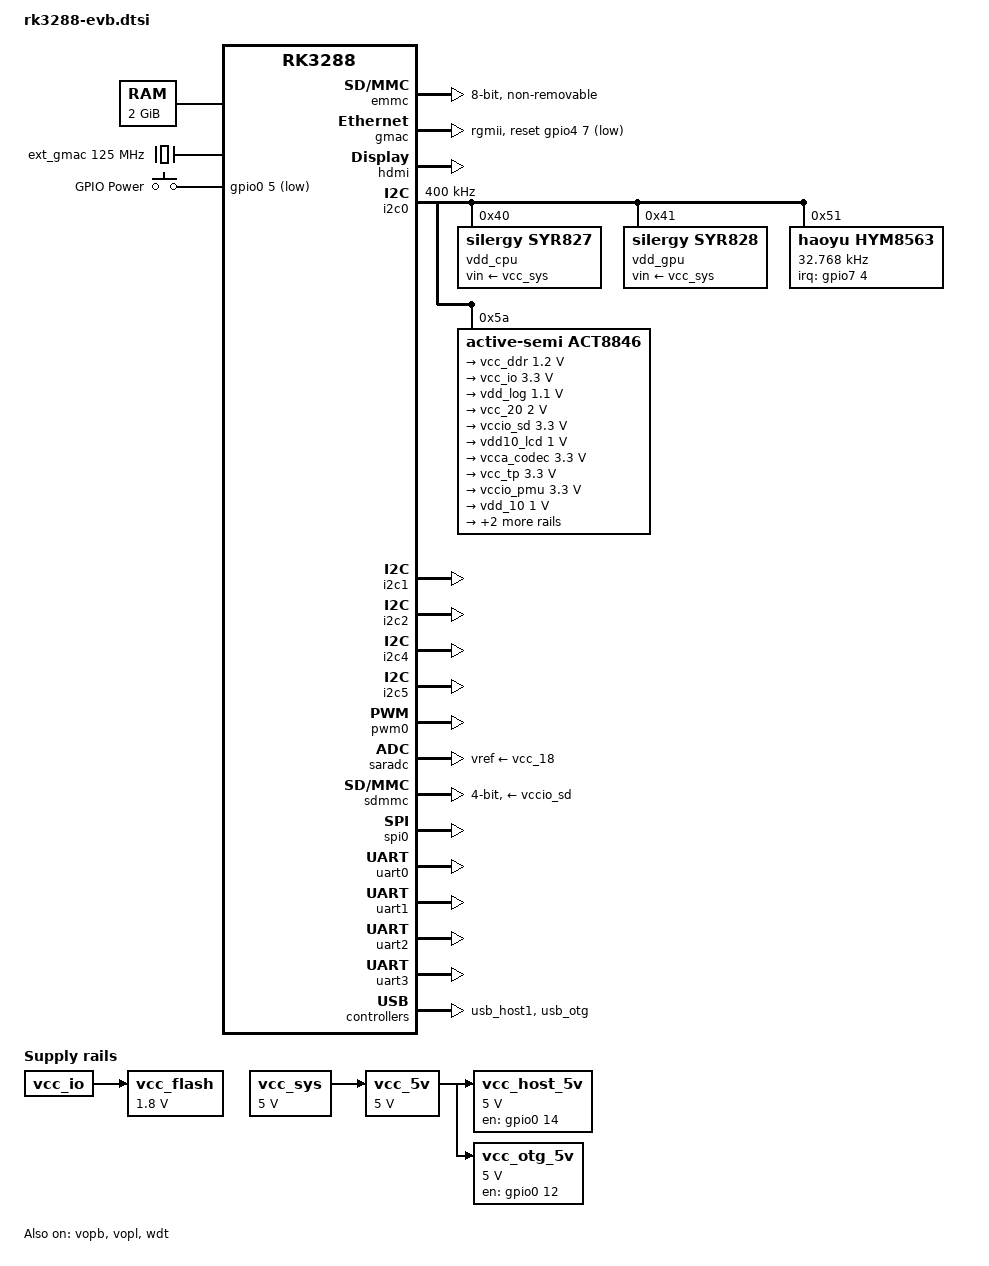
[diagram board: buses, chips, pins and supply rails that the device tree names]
// SPDX-License-Identifier: GPL-2.0+ OR X11
/*
 * (C) Copyright 2016 Rockchip Electronics Co., Ltd
 */

#include "rk3288.dtsi"

/ {
	memory {
		reg = <0 0x80000000>;
	};

	ext_gmac: external-gmac-clock {
		compatible = "fixed-clock";
		#clock-cells = <0>;
		clock-frequency = <125000000>;
		clock-output-names = "ext_gmac";
	};

	keys: gpio-keys {
		compatible = "gpio-keys";

		button@0 {
			gpio-key,wakeup = <1>;
			gpios = <&gpio0 5 GPIO_ACTIVE_LOW>;
			label = "GPIO Power";
			linux,code = <116>;
			pinctrl-names = "default";
			pinctrl-0 = <&pwr_key>;
		};
	};

	vcc_sys: vsys-regulator {
		compatible = "regulator-fixed";
		regulator-name = "vcc_sys";
		regulator-min-microvolt = <5000000>;
		regulator-max-microvolt = <5000000>;
		regulator-always-on;
		regulator-boot-on;
	};

	vcc_flash: flash-regulator {
		compatible = "regulator-fixed";
		regulator-name = "vcc_flash";
		regulator-min-microvolt = <1800000>;
		regulator-max-microvolt = <1800000>;
		vin-supply = <&vcc_io>;
	};

	vcc_5v: usb-regulator {
		compatible = "regulator-fixed";
		regulator-name = "vcc_5v";
		regulator-min-microvolt = <5000000>;
		regulator-max-microvolt = <5000000>;
		regulator-always-on;
		regulator-boot-on;
		vin-supply = <&vcc_sys>;
	};

	vcc_host_5v: usb-host-regulator {
		compatible = "regulator-fixed";
		enable-active-high;
		gpio = <&gpio0 14 GPIO_ACTIVE_HIGH>;
		pinctrl-names = "default";
		pinctrl-0 = <&host_vbus_drv>;
		regulator-name = "vcc_host_5v";
		regulator-min-microvolt = <5000000>;
		regulator-max-microvolt = <5000000>;
		regulator-always-on;
		vin-supply = <&vcc_5v>;
	};

	vcc_otg_5v: usb-otg-regulator {
		compatible = "regulator-fixed";
		enable-active-high;
		gpio = <&gpio0 12 GPIO_ACTIVE_HIGH>;
		pinctrl-names = "default";
		pinctrl-0 = <&otg_vbus_drv>;
		regulator-name = "vcc_otg_5v";
		regulator-min-microvolt = <5000000>;
		regulator-max-microvolt = <5000000>;
		regulator-always-on;
		vin-supply = <&vcc_5v>;
	};

	backlight: backlight {
		compatible = "pwm-backlight";
		power-supply = <&vcc_sys>;
		enable-gpios = <&gpio7 2 GPIO_ACTIVE_HIGH>;
		brightness-levels = <
			  0   1   2   3   4   5   6   7
			  8   9  10  11  12  13  14  15
			 16  17  18  19  20  21  22  23
			 24  25  26  27  28  29  30  31
			 32  33  34  35  36  37  38  39
			 40  41  42  43  44  45  46  47
			 48  49  50  51  52  53  54  55
			 56  57  58  59  60  61  62  63
			 64  65  66  67  68  69  70  71
			 72  73  74  75  76  77  78  79
			 80  81  82  83  84  85  86  87
			 88  89  90  91  92  93  94  95
			 96  97  98  99 100 101 102 103
			104 105 106 107 108 109 110 111
			112 113 114 115 116 117 118 119
			120 121 122 123 124 125 126 127
			128 129 130 131 132 133 134 135
			136 137 138 139 140 141 142 143
			144 145 146 147 148 149 150 151
			152 153 154 155 156 157 158 159
			160 161 162 163 164 165 166 167
			168 169 170 171 172 173 174 175
			176 177 178 179 180 181 182 183
			184 185 186 187 188 189 190 191
			192 193 194 195 196 197 198 199
			200 201 202 203 204 205 206 207
			208 209 210 211 212 213 214 215
			216 217 218 219 220 221 222 223
			224 225 226 227 228 229 230 231
			232 233 234 235 236 237 238 239
			240 241 242 243 244 245 246 247
			248 249 250 251 252 253 254 255>;
		default-brightness-level = <50>;
		pwms = <&pwm0 0 25000 0>;
		pinctrl-names = "default";
		pinctrl-0 = <&pwm0_pin>;
		pwm-delay-us = <10000>;
		status = "disabled";
	};

	panel: panel {
		compatible = "simple-panel";
		power-supply = <&vcc_io>;
		backlight = <&backlight>;
		enable-gpios = <&gpio7 3 GPIO_ACTIVE_HIGH>;
		status = "disabled";
	};
};

&cpu0 {
	cpu0-supply = <&vdd_cpu>;
};

&emmc {
	broken-cd;
	bus-width = <8>;
	cap-mmc-highspeed;
	disable-wp;
	non-removable;
	num-slots = <1>;
	pinctrl-names = "default";
	pinctrl-0 = <&emmc_clk>, <&emmc_cmd>, <&emmc_pwr>, <&emmc_bus8>;
	status = "okay";
};

&gmac {
	phy-mode = "rgmii";
	clock_in_out = "input";
	snps,reset-gpio = <&gpio4 7 0>;
	snps,reset-active-low;
	snps,reset-delays-us = <0 10000 1000000>;
	assigned-clocks = <&cru SCLK_MAC>;
	assigned-clock-parents = <&ext_gmac>;
	pinctrl-names = "default";
	pinctrl-0 = <&rgmii_pins>;
	tx_delay = <0x30>;
	rx_delay = <0x10>;
	status = "okay";
};

&hdmi {
	ddc-i2c-bus = <&i2c5>;
	status = "okay";
};

&i2c0 {
	clock-frequency = <400000>;
	status = "okay";

	vdd_cpu: syr827@40 {
		compatible = "silergy,syr827";
		fcs,suspend-voltage-selector = <1>;
		reg = <0x40>;
		regulator-name = "vdd_cpu";
		regulator-min-microvolt = <850000>;
		regulator-max-microvolt = <1350000>;
		regulator-always-on;
		regulator-boot-on;
		vin-supply = <&vcc_sys>;
	};

	vdd_gpu: syr828@41 {
		compatible = "silergy,syr828";
		fcs,suspend-voltage-selector = <1>;
		reg = <0x41>;
		regulator-name = "vdd_gpu";
		regulator-min-microvolt = <850000>;
		regulator-max-microvolt = <1350000>;
		regulator-always-on;
		vin-supply = <&vcc_sys>;
	};

	hym8563: hym8563@51 {
		compatible = "haoyu,hym8563";
		reg = <0x51>;
		#clock-cells = <0>;
		clock-frequency = <32768>;
		clock-output-names = "xin32k";
		interrupt-parent = <&gpio7>;
		interrupts = <4 IRQ_TYPE_EDGE_FALLING>;
		pinctrl-names = "default";
		pinctrl-0 = <&rtc_int>;
	};

	act8846: act8846@5a {
		compatible = "active-semi,act8846";
		reg = <0x5a>;
		pinctrl-names = "default";
		pinctrl-0 = <&pwr_hold>;
		system-power-controller;

		regulators {
			vcc_ddr: REG1 {
				regulator-name = "vcc_ddr";
				regulator-min-microvolt = <1200000>;
				regulator-max-microvolt = <1200000>;
				regulator-always-on;
			};

			vcc_io: REG2 {
				regulator-name = "vcc_io";
				regulator-min-microvolt = <3300000>;
				regulator-max-microvolt = <3300000>;
				regulator-always-on;
			};

			vdd_log: REG3 {
				regulator-name = "vdd_log";
				regulator-min-microvolt = <1100000>;
				regulator-max-microvolt = <1100000>;
				regulator-always-on;
			};

			vcc_20: REG4 {
				regulator-name = "vcc_20";
				regulator-min-microvolt = <2000000>;
				regulator-max-microvolt = <2000000>;
				regulator-always-on;
			};

			vccio_sd: REG5 {
				regulator-name = "vccio_sd";
				regulator-min-microvolt = <3300000>;
				regulator-max-microvolt = <3300000>;
				regulator-always-on;
			};

			vdd10_lcd: REG6 {
				regulator-name = "vdd10_lcd";
				regulator-min-microvolt = <1000000>;
				regulator-max-microvolt = <1000000>;
				regulator-always-on;
			};

			vcca_codec: REG7 {
				regulator-name = "vcca_codec";
				regulator-min-microvolt = <3300000>;
				regulator-max-microvolt = <3300000>;
			};

			vcc_tp: REG8 {
				regulator-name = "vcca_33";
				regulator-min-microvolt = <3300000>;
				regulator-max-microvolt = <3300000>;
			};

			vccio_pmu: REG9 {
				regulator-name = "vccio_pmu";
				regulator-min-microvolt = <3300000>;
				regulator-max-microvolt = <3300000>;
			};

			vdd_10: REG10 {
				regulator-name = "vdd_10";
				regulator-min-microvolt = <1000000>;
				regulator-max-microvolt = <1000000>;
				regulator-always-on;
			};

			vcc_18: REG11 {
				regulator-name = "vcc_18";
				regulator-min-microvolt = <1800000>;
				regulator-max-microvolt = <1800000>;
				regulator-always-on;
			};

			vcc18_lcd: REG12 {
				regulator-name = "vcc18_lcd";
				regulator-min-microvolt = <1800000>;
				regulator-max-microvolt = <1800000>;
				regulator-always-on;
			};
		};
	};
};

&i2c1 {
	status = "okay";
};

&i2c2 {
	status = "okay";
};

&i2c4 {
	status = "okay";
};

&i2c5 {
	status = "okay";
};

&pinctrl {
	pcfg_output_high: pcfg-output-high {
		output-high;
	};

	pcfg_output_low: pcfg-output-low {
		output-low;
	};

	act8846 {
		pwr_hold: pwr-hold {
			rockchip,pins = <0 9 RK_FUNC_GPIO &pcfg_output_high>;
		};
	};

	hym8563 {
		rtc_int: rtc-int {
			rockchip,pins = <0 4 RK_FUNC_GPIO &pcfg_pull_up>;
		};
	};

	keys {
		pwr_key: pwr-key {
			rockchip,pins = <0 5 RK_FUNC_GPIO &pcfg_pull_up>;
		};
	};

	sdmmc {
		sdmmc_pwr: sdmmc-pwr {
			rockchip,pins = <7 11 RK_FUNC_GPIO &pcfg_pull_none>;
		};
	};

	usb_host {
		host_vbus_drv: host-vbus-drv {
			rockchip,pins = <0 14 RK_FUNC_GPIO &pcfg_pull_none>;
		};
	};

	usb_otg {
		otg_vbus_drv: otg-vbus-drv {
			rockchip,pins = <0 12 RK_FUNC_GPIO &pcfg_pull_none>;
		};
	};
};

&pwm0 {
	status = "okay";
};

&saradc {
	vref-supply = <&vcc_18>;
	status = "okay";
};

&sdio0 {
	broken-cd;
	bus-width = <4>;
	disable-wp;
	non-removable;
	num-slots = <1>;
	pinctrl-names = "default";
	pinctrl-0 = <&sdio0_bus4>, <&sdio0_cmd>, <&sdio0_clk>;
	vmmc-supply = <&vcc_18>;
	status = "disabled";
};

&sdmmc {
	bus-width = <4>;
	cap-mmc-highspeed;
	cap-sd-highspeed;
	card-detect-delay = <200>;
	disable-wp;
	num-slots = <1>;
	pinctrl-names = "default";
	pinctrl-0 = <&sdmmc_clk>, <&sdmmc_cmd>, <&sdmmc_cd>, <&sdmmc_bus4>;
	vmmc-supply = <&vccio_sd>;
	status = "okay";
};

&spi0 {
	pinctrl-names = "default";
	pinctrl-0 = <&spi0_clk>, <&spi0_cs0>, <&spi0_tx>, <&spi0_rx>, <&spi0_cs1>;
	status = "okay";
};

&uart0 {
	pinctrl-names = "default";
	pinctrl-0 = <&uart0_xfer>, <&uart0_cts>, <&uart0_rts>;
	status = "okay";
};

&uart1 {
	status = "okay";
};

&uart2 {
	status = "okay";
};

&uart3 {
	status = "okay";
};

&usb_host1 {
	status = "okay";
};

&usb_otg {
	status = "okay";
};

&vopb {
	status = "okay";
};

&vopb_mmu {
	status = "okay";
};

&vopl {
	status = "okay";
};

&vopl_mmu {
	status = "okay";
};

&mipi_dsi0 {
	status = "disabled";
	rockchip,panel = <&panel>;
	display-timings {
		timing0 {
		bits-per-pixel = <24>;
		clock-frequency = <160000000>;
		hfront-porch = <120>;
		hsync-len = <20>;
		hback-porch = <21>;
		hactive = <1200>;
		vfront-porch = <21>;
		vsync-len = <3>;
		vback-porch = <18>;
		vactive = <1920>;
		hsync-active = <0>;
		vsync-active = <0>;
		de-active = <1>;
		pixelclk-active = <0>;
		};
	};
};

&wdt {
	status = "okay";
};
